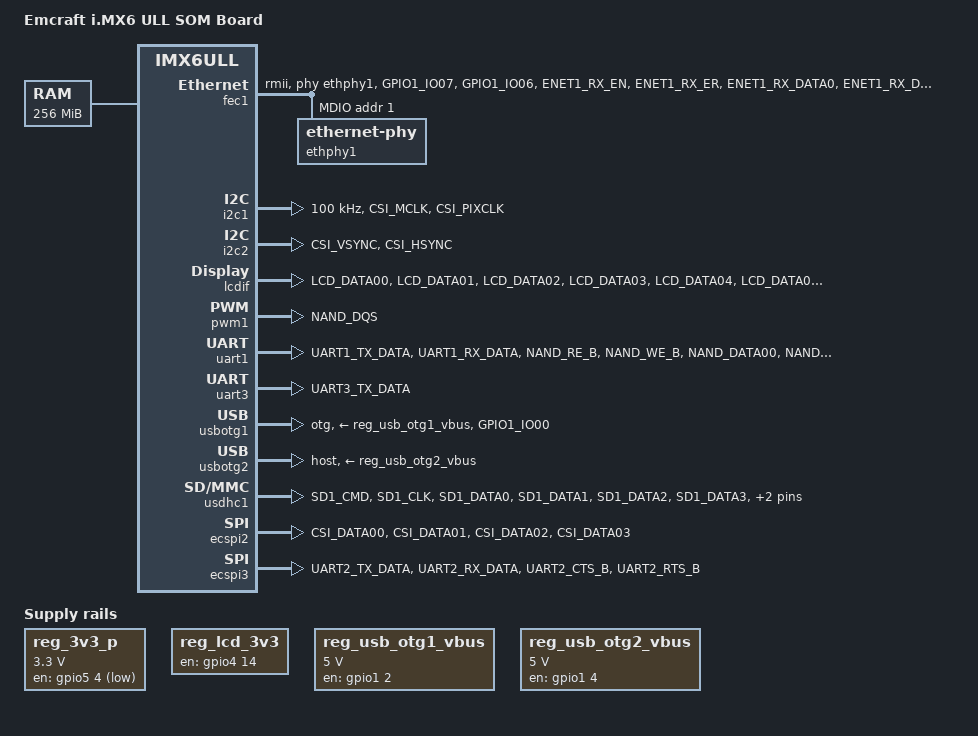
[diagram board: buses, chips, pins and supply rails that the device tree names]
/*
 * Copyright (C) 2017 Emcraft Systems
 * Sergei Miroshnichenko <sergeimir@emcraft.com>
 *
 * License terms:  GNU General Public License (GPL), version 2
 */
/dts-v1/;

#include <dt-bindings/input/input.h>
#include "imx6ull.dtsi"

//#define FEC2

/ {
	model = "Emcraft i.MX6 ULL SOM Board";
	compatible = "fsl,imx6ull";

	chosen {
		stdout-path = &uart1;
	};

	memory {
		reg = <0x80000000 0x10000000>;
	};

	regulators {
		compatible = "simple-bus";
		#address-cells = <1>;
		#size-cells = <0>;

		reg_3v3_p: regulator@0 {
			compatible = "regulator-fixed";
			reg = <0>;
			regulator-name = "3v3_p";
			regulator-min-microvolt = <3300000>;
			regulator-max-microvolt = <3300000>;
			gpios = <&gpio5 4 GPIO_ACTIVE_HIGH>;
		};

		reg_lcd_3v3: regulator@4 {
			compatible = "regulator-fixed";
			reg = <4>;
			regulator-name = "lcd-3v3";
			gpio = <&gpio4 14 0>;
			enable-active-high;
		};

		reg_usb_otg1_vbus: regulator@1 {
			compatible = "regulator-fixed";
			reg = <1>;
			pinctrl-names = "default";
			pinctrl-0 = <&pinctrl_usb_otg1>;
			regulator-name = "usb_otg1_vbus";
			regulator-min-microvolt = <5000000>;
			regulator-max-microvolt = <5000000>;
			gpio = <&gpio1 2 GPIO_ACTIVE_HIGH>;
			enable-active-high;
		};

		reg_usb_otg2_vbus: regulator@2 {
			compatible = "regulator-fixed";
			reg = <2>;
			pinctrl-names = "default";
			pinctrl-0 = <&pinctrl_usb_otg2>;
			regulator-name = "usb_otg2_vbus";
			regulator-min-microvolt = <5000000>;
			regulator-max-microvolt = <5000000>;
			gpio = <&gpio1 4 GPIO_ACTIVE_HIGH>;
			enable-active-high;
		};
	};
};

&cpu0 {
	peripheral-supply = <&reg_3v3_p>;
};

&clks {
	assigned-clocks = <&clks IMX6UL_CLK_PLL4_AUDIO_DIV>;
	assigned-clock-rates = <786432000>;
};

#if !defined(FEC2)
&fec1 {
	pinctrl-names = "default";
	pinctrl-0 = <&pinctrl_enet1>;
	phy-mode = "rmii";
	phy-handle = <&ethphy1>;
	status = "okay";

	mdio {
		#address-cells = <1>;
		#size-cells = <0>;

		ethphy1: ethernet-phy@1 {
			reg = <1>;
		};
	};
};
#else
&fec2 {
	pinctrl-names = "default";
	pinctrl-0 = <&pinctrl_enet2>;
	phy-mode = "rmii";
	phy-handle = <&ethphy2>;
	status = "okay";

	mdio {
		#address-cells = <1>;
		#size-cells = <0>;

		ethphy2: ethernet-phy@2 {
			reg = <1>;
		};
	};
};
#endif /* FEC2 */

&gpc {
	fsl,cpu_pupscr_sw2iso = <0x1>;
	fsl,cpu_pupscr_sw = <0x0>;
	fsl,cpu_pdnscr_iso2sw = <0x1>;
	fsl,cpu_pdnscr_iso = <0x1>;
	fsl,ldo-bypass = <0>; /* DCDC, ldo-enable */
};

&i2c1 {
	clock-frequency = <100000>;
	pinctrl-names = "default";
	pinctrl-0 = <&pinctrl_i2c1>;
	status = "okay";
};

&i2c2 {
	clock_frequency = <100000>;
	pinctrl-names = "default";
	pinctrl-0 = <&pinctrl_i2c2>;
	status = "okay";
};

&lcdif {
	pinctrl-names = "default";
	pinctrl-0 = <&pinctrl_lcdif_dat>;
	lcd-supply = <&reg_lcd_3v3>;
	display = <&display0>;
	status = "okay";

	display0: display0 {
		bits-per-pixel = <32>;
		bus-width = <24>;

		display-timings {
			native-mode = <&timing0>;
			timing0: timing0 {
				clock-frequency = <12000000>;
				hactive = <480>;
				vactive = <272>;
				hback-porch = <2>;
				hfront-porch = <2>;
				vback-porch = <2>;
				vfront-porch = <2>;
				hsync-len = <41>;
				vsync-len = <10>;
				hsync-active = <0>;
				vsync-active = <0>;
				de-active = <1>;
				pixelclk-active = <0>;
			};
		};
	};
};

&pwm1 {
	pinctrl-names = "default";
	pinctrl-0 = <&pinctrl_pwm1>;
	status = "okay";
};

&uart1 {
	pinctrl-names = "default";
	pinctrl-0 = <&pinctrl_uart1>;
	compatible = "fsl,imx7d-uart";
	status = "okay";
};

&uart3 {
	pinctrl-names = "default";
	pinctrl-0 = <&pinctrl_uart3>;
	status = "okay";
};

&usbotg1 {
	pinctrl-names = "default";
	pinctrl-0 = <&pinctrl_usb_otg1_id>;
	status = "okay";
	dr_mode = "otg";
	vbus-supply = <&reg_usb_otg1_vbus>;
};

&usbotg2 {
	dr_mode = "host";
	status = "okay";
	vbus-supply = <&reg_usb_otg2_vbus>;
};

&usbphy1 {
	tx-d-cal = <0x5>;
};

&usbphy2 {
	tx-d-cal = <0x5>;
};

&usdhc1 {
	pinctrl-names = "default";
	pinctrl-0 = <&pinctrl_usdhc1>;
	cd-gpios = <&gpio1 19 GPIO_ACTIVE_LOW>;
	keep-power-in-suspend;
	enable-sdio-wakeup;
	status = "okay";
};

&wdog1 {
	pinctrl-names = "default";
	pinctrl-0 = <&pinctrl_wdog>;
	fsl,wdog_b;
};

&ecspi2 {
	pinctrl-names = "default";
	pinctrl-0 = <&pinctrl_spi2>;
	status = "okay";
	fsl,spi-num-chipselects = <1>;
	bus-num = <1>;
};

&ecspi3 {
	pinctrl-names = "default";
	pinctrl-0 = <&pinctrl_spi3>;
	status = "okay";
	fsl,spi-num-chipselects = <1>;
	bus-num = <1>;

	flash_dspi3: m25p32@3 {
                status = "disabled";
                #address-cells = <1>;
                #size-cells = <1>;
                compatible = "st,m25p32", "st,m25p", "jedec,spi-nor";
                spi-max-frequency = <1000000>;
                reg = <0>;

                partition@0 {
                        label = "spi_flash_part0";
                        reg = <0x0 0x100000>;
                        read-only;
                };

                partition@40000 {
                        label = "spi_flash_part1";
                        reg = <0x100000 0x300000>;
                };
        };
};

&iomuxc {
	imx6ul-evk {
		pinctrl_spi2: spi2grp {
			fsl,pins = <
				MX6UL_PAD_CSI_DATA00__ECSPI2_SCLK	MX6UL_SPI_PAD_CTRL
				MX6UL_PAD_CSI_DATA01__ECSPI2_SS0	MX6UL_SPI_PAD_CTRL
				MX6UL_PAD_CSI_DATA02__ECSPI2_MOSI	MX6UL_SPI_PAD_CTRL
				MX6UL_PAD_CSI_DATA03__ECSPI2_MISO	MX6UL_SPI_PAD_CTRL
			>;
		};
		pinctrl_spi3: spi3grp {
			fsl,pins = <
				MX6UL_PAD_UART2_TX_DATA__ECSPI3_SS0	MX6UL_SPI_PAD_CTRL
				MX6UL_PAD_UART2_RX_DATA__ECSPI3_SCLK	MX6UL_SPI_PAD_CTRL
				MX6UL_PAD_UART2_CTS_B__ECSPI3_MOSI	MX6UL_SPI_PAD_CTRL
				MX6UL_PAD_UART2_RTS_B__ECSPI3_MISO	MX6UL_SPI_PAD_CTRL
			>;
		};

		#if !defined(FEC2)
		pinctrl_enet1: enet1grp {
			fsl,pins = <
				MX6UL_PAD_GPIO1_IO07__ENET1_MDC		MX6UL_ENET_MDIO_PAD_CTRL
				MX6UL_PAD_GPIO1_IO06__ENET1_MDIO	MX6UL_ENET_MDIO_PAD_CTRL
				MX6UL_PAD_ENET1_RX_EN__ENET1_RX_EN	MX6UL_ENET_RX_PAD_CTRL
				MX6UL_PAD_ENET1_RX_ER__ENET1_RX_ER	MX6UL_ENET_RX_PAD_CTRL
				MX6UL_PAD_ENET1_RX_DATA0__ENET1_RDATA00	MX6UL_ENET_RX_PAD_CTRL
				MX6UL_PAD_ENET1_RX_DATA1__ENET1_RDATA01	MX6UL_ENET_RX_PAD_CTRL
				MX6UL_PAD_ENET1_TX_EN__ENET1_TX_EN	MX6UL_ENET_TX_PAD_CTRL
				MX6UL_PAD_ENET1_TX_DATA0__ENET1_TDATA00	MX6UL_ENET_TX_PAD_CTRL
				MX6UL_PAD_ENET1_TX_DATA1__ENET1_TDATA01	MX6UL_ENET_TX_PAD_CTRL
				MX6UL_PAD_ENET1_TX_CLK__ENET1_REF_CLK1	MX6UL_ENET_CLK_OUT_PAD_CTRL
			>;
		};
		#else
		pinctrl_enet2: enet2grp {
			fsl,pins = <
				MX6UL_PAD_GPIO1_IO07__ENET2_MDC		MX6UL_ENET_MDIO_PAD_CTRL
				MX6UL_PAD_GPIO1_IO06__ENET2_MDIO	MX6UL_ENET_MDIO_PAD_CTRL
				MX6UL_PAD_ENET2_RX_EN__ENET2_RX_EN	MX6UL_ENET_RX_PAD_CTRL
				// RX_ER is not used by external dongles
				//MX6UL_PAD_ENET2_RX_ER__ENET2_RX_ER	MX6UL_ENET_RX_PAD_CTRL
				MX6UL_PAD_ENET2_RX_ER__GPIO2_IO15	MX6UL_GPIO_PAD_CTRL
				MX6UL_PAD_ENET2_RX_DATA0__ENET2_RDATA00	MX6UL_ENET_RX_PAD_CTRL
				MX6UL_PAD_ENET2_RX_DATA1__ENET2_RDATA01	MX6UL_ENET_RX_PAD_CTRL
				MX6UL_PAD_ENET2_TX_EN__ENET2_TX_EN	MX6UL_ENET_TX_PAD_CTRL
				MX6UL_PAD_ENET2_TX_DATA0__ENET2_TDATA00	MX6UL_ENET_TX_PAD_CTRL
				MX6UL_PAD_ENET2_TX_DATA1__ENET2_TDATA01	MX6UL_ENET_TX_PAD_CTRL
				MX6UL_PAD_ENET2_TX_CLK__ENET2_REF_CLK2	MX6UL_ENET_CLK_IN_PAD_CTRL
			>;
		};
		#endif /* FEC2 */

		pinctrl_i2c1: i2c1grp {
			fsl,pins = <
				MX6UL_PAD_CSI_MCLK__I2C1_SDA		MX6UL_I2C_PAD_CTRL
				MX6UL_PAD_CSI_PIXCLK__I2C1_SCL		MX6UL_I2C_PAD_CTRL
			>;
		};

		pinctrl_i2c2: i2c2grp {
			fsl,pins = <
				MX6UL_PAD_CSI_VSYNC__I2C2_SDA		MX6UL_I2C_PAD_CTRL
				MX6UL_PAD_CSI_HSYNC__I2C2_SCL		MX6UL_I2C_PAD_CTRL
			>;
		};

		pinctrl_lcdif_dat: lcdifdatgrp {
			fsl,pins = <
				MX6UL_PAD_LCD_DATA00__LCDIF_DATA00	MX6UL_LCD_PAD_CTRL
				MX6UL_PAD_LCD_DATA01__LCDIF_DATA01	MX6UL_LCD_PAD_CTRL
				MX6UL_PAD_LCD_DATA02__LCDIF_DATA02	MX6UL_LCD_PAD_CTRL
				MX6UL_PAD_LCD_DATA03__LCDIF_DATA03	MX6UL_LCD_PAD_CTRL
				MX6UL_PAD_LCD_DATA04__LCDIF_DATA04	MX6UL_LCD_PAD_CTRL
				MX6UL_PAD_LCD_DATA05__LCDIF_DATA05	MX6UL_LCD_PAD_CTRL
				MX6UL_PAD_LCD_DATA06__LCDIF_DATA06	MX6UL_LCD_PAD_CTRL
				MX6UL_PAD_LCD_DATA07__LCDIF_DATA07	MX6UL_LCD_PAD_CTRL
				MX6UL_PAD_LCD_DATA08__LCDIF_DATA08	MX6UL_LCD_PAD_CTRL
				MX6UL_PAD_LCD_DATA09__LCDIF_DATA09	MX6UL_LCD_PAD_CTRL
				MX6UL_PAD_LCD_DATA10__LCDIF_DATA10	MX6UL_LCD_PAD_CTRL
				MX6UL_PAD_LCD_DATA11__LCDIF_DATA11	MX6UL_LCD_PAD_CTRL
				MX6UL_PAD_LCD_DATA12__LCDIF_DATA12	MX6UL_LCD_PAD_CTRL
				MX6UL_PAD_LCD_DATA13__LCDIF_DATA13	MX6UL_LCD_PAD_CTRL
				MX6UL_PAD_LCD_DATA14__LCDIF_DATA14	MX6UL_LCD_PAD_CTRL
				MX6UL_PAD_LCD_DATA15__LCDIF_DATA15	MX6UL_LCD_PAD_CTRL
				MX6UL_PAD_LCD_DATA16__LCDIF_DATA16	MX6UL_LCD_PAD_CTRL
				MX6UL_PAD_LCD_DATA17__LCDIF_DATA17	MX6UL_LCD_PAD_CTRL
				MX6UL_PAD_LCD_DATA18__LCDIF_DATA18	MX6UL_LCD_PAD_CTRL
				MX6UL_PAD_LCD_DATA19__LCDIF_DATA19	MX6UL_LCD_PAD_CTRL
				MX6UL_PAD_LCD_DATA20__LCDIF_DATA20	MX6UL_LCD_PAD_CTRL
				MX6UL_PAD_LCD_DATA21__LCDIF_DATA21	MX6UL_LCD_PAD_CTRL
				MX6UL_PAD_LCD_DATA22__LCDIF_DATA22	MX6UL_LCD_PAD_CTRL
				MX6UL_PAD_LCD_DATA23__LCDIF_DATA23	MX6UL_LCD_PAD_CTRL
				MX6UL_PAD_LCD_HSYNC__LCDIF_HSYNC	MX6UL_LCD_PAD_CTRL
				MX6UL_PAD_LCD_VSYNC__LCDIF_VSYNC	MX6UL_LCD_PAD_CTRL
				MX6UL_PAD_LCD_ENABLE__LCDIF_ENABLE	MX6UL_LCD_PAD_CTRL
				MX6UL_PAD_LCD_CLK__LCDIF_CLK		MX6UL_LCD_PAD_CTRL
				MX6UL_PAD_NAND_CE1_B__GPIO4_IO14	MX6UL_GPIO_PAD_CTRL
			>;
		};

		pinctrl_pwm1: pwm1grp {
			fsl,pins = <
				MX6UL_PAD_NAND_DQS__PWM5_OUT		MX6UL_PWM_PAD_CTRL
			>;
		};

		pinctrl_uart1: uart1grp {
			fsl,pins = <
				MX6UL_PAD_UART1_TX_DATA__UART1_DCE_TX	MX6UL_UART_PAD_CTRL
				MX6UL_PAD_UART1_RX_DATA__UART1_DCE_RX	(MX6UL_UART_PAD_CTRL | PAD_CTL_PUS_22K_UP | PAD_CTL_PKE | PAD_CTL_PUE)

				/* Temporarily - until supported in the NAND driver */
				MX6UL_PAD_NAND_RE_B__RAWNAND_RE_B	MX6UL_NAND_PAD_CTRL
				MX6UL_PAD_NAND_WE_B__RAWNAND_WE_B	MX6UL_NAND_PAD_CTRL
				MX6UL_PAD_NAND_DATA00__RAWNAND_DATA00	MX6UL_NAND_PAD_CTRL
				MX6UL_PAD_NAND_DATA01__RAWNAND_DATA01	MX6UL_NAND_PAD_CTRL
				MX6UL_PAD_NAND_DATA02__RAWNAND_DATA02	MX6UL_NAND_PAD_CTRL
				MX6UL_PAD_NAND_DATA03__RAWNAND_DATA03	MX6UL_NAND_PAD_CTRL
				MX6UL_PAD_NAND_DATA04__RAWNAND_DATA04	MX6UL_NAND_PAD_CTRL
				MX6UL_PAD_NAND_DATA05__RAWNAND_DATA05	MX6UL_NAND_PAD_CTRL
				MX6UL_PAD_NAND_DATA06__RAWNAND_DATA06	MX6UL_NAND_PAD_CTRL
				MX6UL_PAD_NAND_DATA07__RAWNAND_DATA07	MX6UL_NAND_PAD_CTRL
				MX6UL_PAD_NAND_ALE__RAWNAND_ALE		MX6UL_NAND_PAD_CTRL
				MX6UL_PAD_NAND_WP_B__RAWNAND_WP_B	MX6UL_NAND_PAD_CTRL
				MX6UL_PAD_NAND_READY_B__RAWNAND_READY_B	MX6UL_NAND_PAD_CTRL
				MX6UL_PAD_NAND_CE0_B__RAWNAND_CE0_B	MX6UL_NAND_PAD_CTRL
				MX6UL_PAD_NAND_CLE__RAWNAND_CLE		MX6UL_NAND_PAD_CTRL

				/* Temporarily - until supported in the ETH driver */
				#if !defined(FEC2)
				MX6UL_PAD_GPIO1_IO07__ENET1_MDC		MX6UL_ENET_MDIO_PAD_CTRL
				MX6UL_PAD_GPIO1_IO06__ENET1_MDIO	MX6UL_ENET_MDIO_PAD_CTRL
				#else
				MX6UL_PAD_GPIO1_IO07__ENET2_MDC		MX6UL_ENET_MDIO_PAD_CTRL
				MX6UL_PAD_GPIO1_IO06__ENET2_MDIO	MX6UL_ENET_MDIO_PAD_CTRL
				#endif /* FEC2 */
				MX6UL_PAD_ENET1_RX_EN__ENET1_RX_EN	MX6UL_ENET_RX_PAD_CTRL
				MX6UL_PAD_ENET1_RX_ER__ENET1_RX_ER	MX6UL_ENET_RX_PAD_CTRL
				MX6UL_PAD_ENET1_RX_DATA0__ENET1_RDATA00	MX6UL_ENET_RX_PAD_CTRL
				MX6UL_PAD_ENET1_RX_DATA1__ENET1_RDATA01	MX6UL_ENET_RX_PAD_CTRL
				MX6UL_PAD_ENET1_TX_EN__ENET1_TX_EN	MX6UL_ENET_TX_PAD_CTRL
				MX6UL_PAD_ENET1_TX_DATA0__ENET1_TDATA00	MX6UL_ENET_TX_PAD_CTRL
				MX6UL_PAD_ENET1_TX_DATA1__ENET1_TDATA01	MX6UL_ENET_TX_PAD_CTRL
				MX6UL_PAD_ENET1_TX_CLK__ENET1_REF_CLK1	MX6UL_ENET_CLK_OUT_PAD_CTRL
				MX6UL_PAD_ENET2_RX_EN__ENET2_RX_EN	MX6UL_ENET_RX_PAD_CTRL
				MX6UL_PAD_ENET2_RX_ER__GPIO2_IO15	MX6UL_GPIO_PAD_CTRL
				MX6UL_PAD_ENET2_RX_DATA0__ENET2_RDATA00	MX6UL_ENET_RX_PAD_CTRL
				MX6UL_PAD_ENET2_RX_DATA1__ENET2_RDATA01	MX6UL_ENET_RX_PAD_CTRL
				MX6UL_PAD_ENET2_TX_EN__ENET2_TX_EN	MX6UL_ENET_TX_PAD_CTRL
				MX6UL_PAD_ENET2_TX_DATA0__ENET2_TDATA00	MX6UL_ENET_TX_PAD_CTRL
				MX6UL_PAD_ENET2_TX_DATA1__ENET2_TDATA01	MX6UL_ENET_TX_PAD_CTRL
				MX6UL_PAD_ENET2_TX_CLK__ENET2_REF_CLK2	MX6UL_ENET_CLK_IN_PAD_CTRL
			>;
		};

		pinctrl_uart3: uart3grp {
			fsl,pins = <
				MX6UL_PAD_UART3_TX_DATA__UART3_DCE_TX	MX6UL_UART_PAD_CTRL
				MX6UL_PAD_UART3_TX_DATA__UART3_DTE_RX	MX6UL_UART_PAD_CTRL
			>;
		};

		pinctrl_usdhc1: usdhc1grp {
			fsl,pins = <
				MX6UL_PAD_SD1_CMD__USDHC1_CMD		MX6UL_SDHC_PAD_CTRL
				MX6UL_PAD_SD1_CLK__USDHC1_CLK		MX6UL_SDHC_CLK_PAD_CTRL
				MX6UL_PAD_SD1_DATA0__USDHC1_DATA0	MX6UL_SDHC_PAD_CTRL
				MX6UL_PAD_SD1_DATA1__USDHC1_DATA1	MX6UL_SDHC_PAD_CTRL
				MX6UL_PAD_SD1_DATA2__USDHC1_DATA2	MX6UL_SDHC_PAD_CTRL
				MX6UL_PAD_SD1_DATA3__USDHC1_DATA3	MX6UL_SDHC_PAD_CTRL
				MX6UL_PAD_UART1_RTS_B__GPIO1_IO19	MX6UL_GPIO_PAD_CTRL
			>;
		};

		pinctrl_wdog: wdoggrp {
			fsl,pins = <
				MX6UL_PAD_LCD_RESET__WDOG1_WDOG_ANY	MX6UL_WDOG_PAD_CTRL
			>;
		};

		pinctrl_usb_otg1: usbot1ggrp {
			fsl,pins = <
				/* PWR */
				MX6UL_PAD_GPIO1_IO04__GPIO1_IO04	MX6UL_GPIO_PAD_CTRL
				/* OC */
				MX6UL_PAD_GPIO1_IO01__GPIO1_IO01	MX6UL_GPIO_PAD_CTRL
			>;
		};

		pinctrl_usb_otg1_id: usbotg1idgrp {
			fsl,pins = <
				MX6UL_PAD_GPIO1_IO00__ANATOP_OTG1_ID	MX6UL_OTG_ID_PAD_CTRL
			>;
		};

		pinctrl_usb_otg2: usbotg2grp {
			fsl,pins = <
				/* PWR */
				MX6UL_PAD_GPIO1_IO02__GPIO1_IO02	MX6UL_GPIO_PAD_CTRL
				/* OC */
				MX6UL_PAD_GPIO1_IO03__GPIO1_IO03	MX6UL_GPIO_PAD_CTRL
			>;
		};
	};
};
